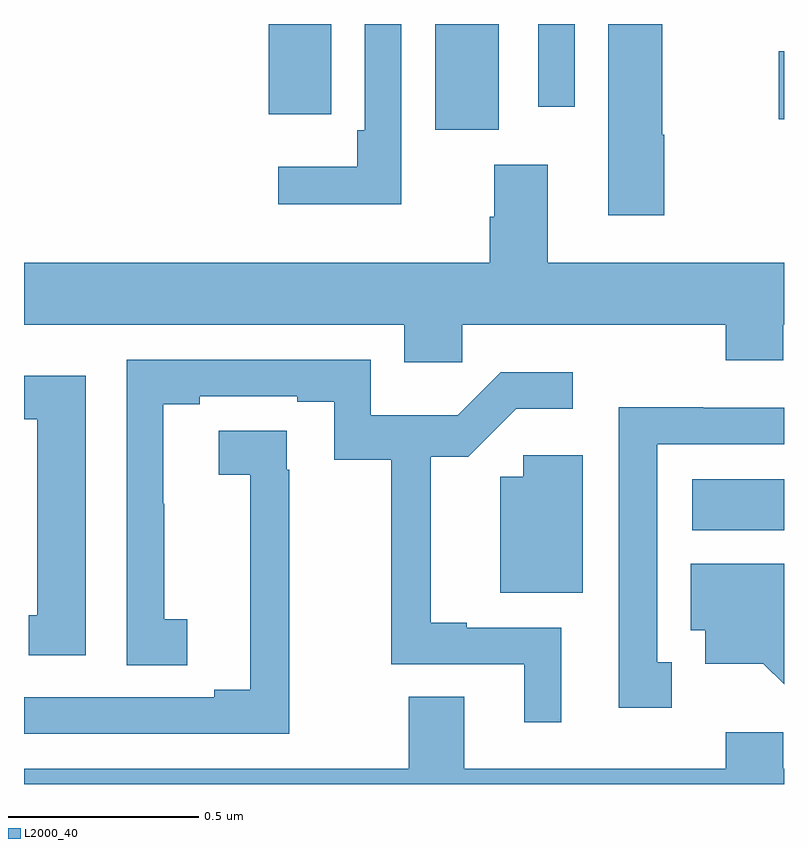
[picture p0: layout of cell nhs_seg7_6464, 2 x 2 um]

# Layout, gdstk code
import gdstk
lib = gdstk.Library(unit=1e-6, precision=1e-09)
def R(c, l, rs):  # rectangles x0, y0, x1, y1
    for r in rs: c.add(gdstk.rectangle(r[:2], r[2:], *l))
def P(c, l, *ps):  # polygons
    for p in ps: c.add(gdstk.Polygon(p, *l))
L2000_40 = (2000, 40)

nhs_seg7_6464 = lib.new_cell('nhs_seg7_6464')
R(nhs_seg7_6464, L2000_40, [(199.758,1074.668,200,1074.802), (199.082,1075.722,199.249,1076), (199.986,1075.75,200,1075.928), (198.644,1075.763,198.808,1076), (199.353,1075.782,199.449,1076)])
P(nhs_seg7_6464, L2000_40, [(199.685,1075.709),(199.68,1075.709),(199.68,1076),(199.538,1076),(199.538,1075.497),(199.685,1075.497)],
  [(198.993,1076),(198.897,1076),(198.897,1075.72),(198.877,1075.72),(198.877,1075.624),(198.669,1075.624),(198.669,1075.526),(198.993,1075.526)],
  [(199.153,1075.208),(199.847,1075.208),(199.847,1075.115),(199.998,1075.115),(199.998,1075.208),(200,1075.208),(200,1075.372),(199.378,1075.372),(199.378,1075.63),(199.238,1075.63),(199.238,1075.493),(199.226,1075.493),(199.226,1075.372),(198,1075.372),(198,1075.208),(199.001,1075.208),(199.001,1075.11),(199.153,1075.11)],
  [(199.414,1074.411),(199.165,1074.411),(199.165,1074.424),(199.07,1074.424),(199.07,1074.861),(199.169,1074.861),(199.296,1074.987),(199.444,1074.987),(199.444,1075.083),(199.254,1075.083),(199.141,1074.97),(198.912,1074.97),(198.912,1075.116),(198.27,1075.116),(198.27,1074.313),(198.43,1074.313),(198.43,1074.433),(198.369,1074.433),(198.369,1074.737),(198.367,1074.737),(198.367,1075),(198.463,1075),(198.463,1075.02),(198.719,1075.02),(198.719,1075.006),(198.816,1075.006),(198.816,1074.853),(198.967,1074.853),(198.967,1074.315),(199.316,1074.315),(199.316,1074.162),(199.414,1074.162)],
  [(198.163,1075.075),(198,1075.075),(198,1074.96),(198.035,1074.96),(198.035,1074.444),(198.013,1074.444),(198.013,1074.339),(198.163,1074.339)],
  [(199.705,1074.321),(199.666,1074.321),(199.666,1074.894),(200,1074.894),(200,1074.99),(199.788,1074.99),(199.788,1074.992),(199.565,1074.992),(199.565,1074.201),(199.705,1074.201)],
  [(198.698,1074.827),(198.692,1074.827),(198.692,1074.929),(198.513,1074.929),(198.513,1074.814),(198.595,1074.814),(198.595,1074.531),(198.596,1074.531),(198.596,1074.248),(198.5,1074.248),(198.5,1074.228),(198,1074.228),(198,1074.132),(198.698,1074.132)],
  [(199.471,1074.865),(199.314,1074.865),(199.314,1074.808),(199.253,1074.808),(199.253,1074.503),(199.471,1074.503)],
  [(200,1074.58),(199.754,1074.58),(199.754,1074.404),(199.793,1074.404),(199.793,1074.317),(199.945,1074.317),(200,1074.263)],
  [(200,1074.04),(199.998,1074.04),(199.998,1074.136),(199.847,1074.136),(199.847,1074.04),(199.159,1074.04),(199.159,1074.23),(199.012,1074.23),(199.012,1074.04),(198,1074.04),(198,1074),(200,1074)])

lib.write_gds('nhs_seg7_6464.gds')
